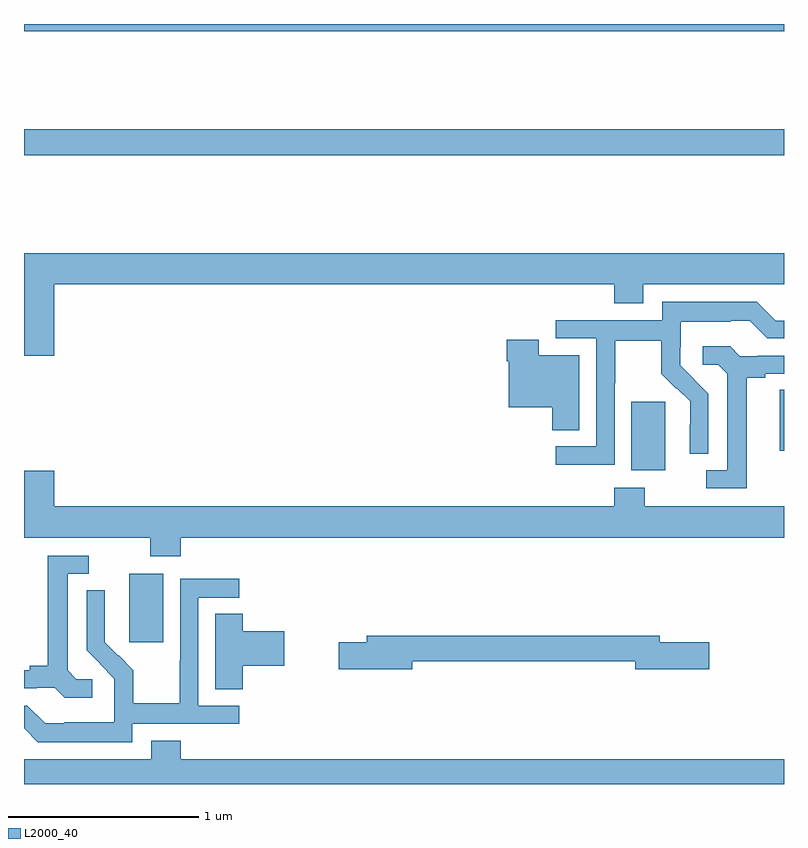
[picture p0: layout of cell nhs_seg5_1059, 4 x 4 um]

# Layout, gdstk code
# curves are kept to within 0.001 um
import gdstk
lib = gdstk.Library(unit=1e-6, precision=1e-09)
def R(c, l, rs):  # rectangles x0, y0, x1, y1
    for r in rs: c.add(gdstk.rectangle(r[:2], r[2:], *l))
def P(c, l, *ps):  # polygons
    for p in ps: c.add(gdstk.Polygon(p, *l))
L2000_40 = (2000, 40)

nhs_seg5_1059 = lib.new_cell('nhs_seg5_1059')
R(nhs_seg5_1059, L2000_40, [(177.554,853.545,177.733,853.906), (180.197,854.45,180.376,854.811), (180.977,854.553,181,854.873), (177,856.108,181,856.244), (177,856.76,181,856.799)])
P(nhs_seg5_1059, L2000_40, [(177.16,855.428),(180.107,855.428),(180.107,855.329),(180.259,855.329),(180.259,855.428),(181,855.428),(181,855.592),(177,855.592),(177,855.054),(177.16,855.054)],
  [(180.108,854.908),(180.111,854.908),(180.111,855.132),(180.355,855.132),(180.355,854.957),(180.432,854.88),(180.435,854.883),(180.506,854.813),(180.506,854.69),(180.504,854.69),(180.504,854.536),(180.6,854.536),(180.6,854.854),(180.454,855.002),(180.454,855.099),(180.456,855.099),(180.456,855.233),(180.719,855.233),(180.719,855.237),(180.819,855.237),(180.912,855.144),(181,855.144),(181,855.237),(180.957,855.237),(180.857,855.337),(180.36,855.337),(180.36,855.24),(179.799,855.24),(179.799,855.144),(180.012,855.144),(180.012,854.577),(179.799,854.577),(179.799,854.479),(180.108,854.479)],
  [(179.923,855.055),(179.71,855.055),(179.71,855.136),(179.54,855.136),(179.54,855.023),(179.552,855.023),(179.552,854.783),(179.78,854.783),(179.78,854.662),(179.923,854.662)],
  [(180.805,854.936),(180.901,854.936),(180.901,854.958),(181,854.958),(181,855.054),(180.862,855.054),(180.862,855.051),(180.768,855.051),(180.716,855.103),(180.573,855.103),(180.573,855.006),(180.654,855.006),(180.701,854.959),(180.701,854.451),(180.591,854.451),(180.591,854.355),(180.805,854.355)],
  [(177.824,854.096),(181,854.096),(181,854.26),(180.267,854.26),(180.267,854.359),(180.107,854.359),(180.107,854.26),(177.16,854.26),(177.16,854.449),(177,854.449),(177,854.096),(177.664,854.096),(177.664,853.997),(177.824,853.997)],
  [(177.358,853.35),(177.276,853.35),(177.229,853.397),(177.229,853.905),(177.34,853.905),(177.34,854.001),(177.125,854.001),(177.125,853.421),(177.029,853.421),(177.029,853.398),(177,853.398),(177,853.302),(177.068,853.302),(177.068,853.305),(177.162,853.305),(177.214,853.253),(177.358,853.253)],
  [(177.57,853.116),(178.132,853.116),(178.132,853.212),(177.918,853.212),(177.918,853.779),(178.132,853.779),(178.132,853.878),(177.822,853.878),(177.822,853.448),(177.82,853.448),(177.82,853.225),(177.575,853.225),(177.575,853.399),(177.498,853.476),(177.495,853.473),(177.425,853.544),(177.426,853.82),(177.33,853.82),(177.33,853.502),(177.476,853.354),(177.476,853.257),(177.474,853.257),(177.474,853.123),(177.211,853.123),(177.211,853.119),(177.111,853.119),(177.018,853.212),(177,853.212),(177,853.092),(177.073,853.019),(177.57,853.019)],
  [(178.151,853.421),(178.369,853.421),(178.369,853.604),(178.151,853.604),(178.151,853.694),(178.007,853.694),(178.007,853.297),(178.151,853.297)],
  [(179.044,853.444),(180.218,853.444),(180.218,853.402),(180.607,853.402),(180.607,853.544),(180.346,853.544),(180.346,853.58),(178.805,853.58),(178.805,853.544),(178.656,853.544),(178.656,853.402),(179.044,853.402)],
  [(181,852.928),(177.824,852.928),(177.824,853.027),(177.671,853.027),(177.671,852.928),(177,852.928),(177,852.799),(181,852.799)])

lib.write_gds('nhs_seg5_1059.gds')
